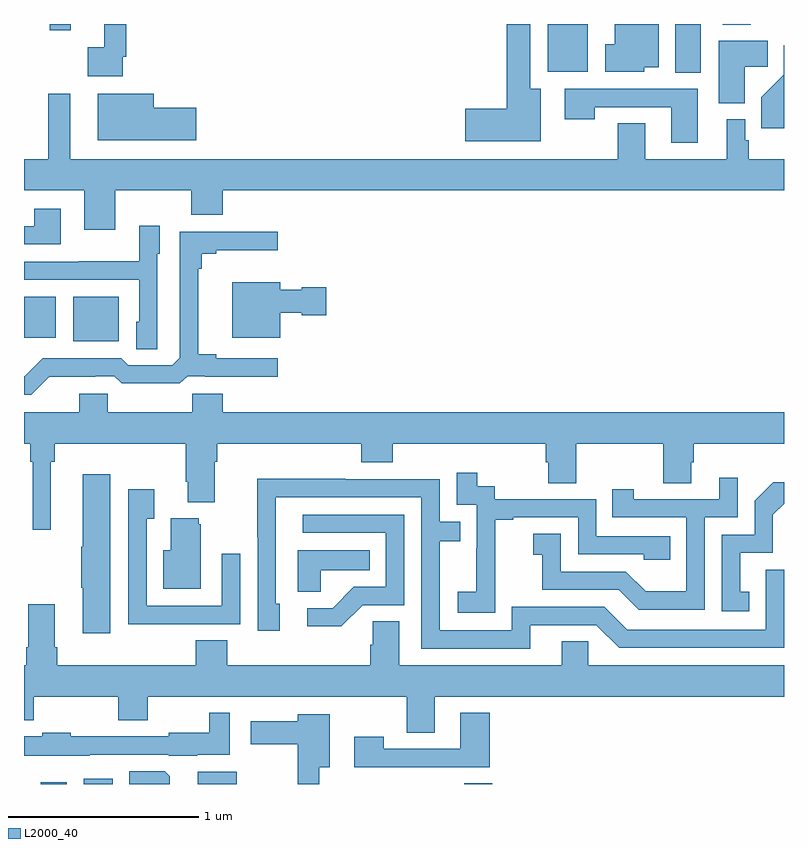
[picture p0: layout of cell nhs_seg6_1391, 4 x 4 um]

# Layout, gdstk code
import gdstk
lib = gdstk.Library(unit=1e-6, precision=1e-09)
def R(c, l, rs):  # rectangles x0, y0, x1, y1
    for r in rs: c.add(gdstk.rectangle(r[:2], r[2:], *l))
def P(c, l, *ps):  # polygons
    for p in ps: c.add(gdstk.Polygon(p, *l))
L2000_40 = (2000, 40)

nhs_seg6_1391 = lib.new_cell('nhs_seg6_1391')
R(nhs_seg6_1391, L2000_40, [(195.089,989.5,195.226,989.509), (195.314,989.5,195.466,989.527), (195.914,989.5,196.12,989.564), (197.318,989.5,197.465,989.504), (195.26,991.829,195.499,992.065), (195,991.85,195.166,992.065), (198.428,993.244,198.562,993.5), (197.756,993.248,197.968,993.5), (195.135,993.468,195.245,993.5), (198.677,993.497,198.825,993.5)])
P(nhs_seg6_1391, L2000_40, [(198.264,993.272),(198.34,993.272),(198.34,993.5),(198.11,993.5),(198.11,993.394),(198.059,993.394),(198.059,993.248),(198.264,993.248)],
  [(197.719,993.16),(197.665,993.16),(197.665,993.5),(197.54,993.5),(197.54,993.053),(197.322,993.053),(197.322,992.882),(197.719,992.882)],
  [(195.519,993.328),(195.539,993.328),(195.539,993.5),(195.422,993.5),(195.422,993.377),(195.336,993.377),(195.336,993.224),(195.519,993.224)],
  [(198.793,993.274),(198.914,993.274),(198.914,993.412),(198.656,993.412),(198.656,993.083),(198.793,993.083)],
  [(199,993.388),(198.999,993.388),(198.999,993.233),(198.88,993.114),(198.88,992.952),(199,992.952)],
  [(198.547,993.159),(197.847,993.159),(197.847,993),(198.003,993),(198.003,993.063),(198.407,993.063),(198.407,992.874),(198.547,992.874)],
  [(195.481,992.624),(195.881,992.624),(195.881,992.496),(196.045,992.496),(196.045,992.624),(199,992.624),(199,992.788),(198.815,992.788),(198.815,992.889),(198.795,992.889),(198.795,992.998),(198.698,992.998),(198.698,992.788),(198.271,992.788),(198.271,992.978),(198.124,992.978),(198.124,992.788),(195.244,992.788),(195.244,993.133),(195.127,993.133),(195.127,992.788),(195,992.788),(195,992.624),(195.317,992.624),(195.317,992.418),(195.481,992.418)],
  [(195.907,993.059),(195.682,993.059),(195.682,993.133),(195.389,993.133),(195.389,992.888),(195.907,992.888)],
  [(195.193,992.527),(195.053,992.527),(195.053,992.436),(195,992.436),(195,992.34),(195.193,992.34)],
  [(195.702,992.292),(195.715,992.292),(195.715,992.437),(195.606,992.437),(195.606,992.251),(195.289,992.251),(195.289,992.25),(195,992.25),(195,992.154),(195.606,992.154),(195.606,991.932),(195.59,991.932),(195.59,991.789),(195.702,991.789)],
  [(195.134,991.643),(195.374,991.643),(195.374,991.647),(195.474,991.647),(195.514,991.608),(195.821,991.608),(195.861,991.647),(195.955,991.647),(195.955,991.643),(196.336,991.643),(196.336,991.74),(196.012,991.74),(196.012,991.763),(195.917,991.763),(195.917,992.213),(195.935,992.213),(195.935,992.29),(196.012,992.29),(196.012,992.309),(196.336,992.309),(196.336,992.406),(195.819,992.406),(195.819,991.743),(195.78,991.704),(195.549,991.704),(195.513,991.74),(195.099,991.74),(195.005,991.646),(195,991.646),(195,991.548),(195.039,991.548)],
  [(196.348,991.979),(196.461,991.979),(196.461,991.967),(196.591,991.967),(196.591,992.114),(196.461,992.114),(196.461,992.101),(196.348,992.101),(196.348,992.14),(196.097,992.14),(196.097,991.85),(196.348,991.85)],
  [(195.142,991.196),(195.161,991.196),(195.161,991.292),(195.851,991.292),(195.851,991.09),(195.863,991.09),(195.863,990.983),(196.003,990.983),(196.003,991.196),(196.016,991.196),(196.016,991.292),(196.775,991.292),(196.775,991.193),(196.94,991.193),(196.94,991.292),(197.747,991.292),(197.747,991.194),(197.759,991.194),(197.759,991.084),(197.907,991.084),(197.907,991.292),(198.364,991.292),(198.364,991.084),(198.511,991.084),(198.511,991.194),(198.524,991.194),(198.524,991.292),(199,991.292),(199,991.456),(196.046,991.456),(196.046,991.554),(195.886,991.554),(195.886,991.456),(195.441,991.456),(195.441,991.554),(195.29,991.554),(195.29,991.456),(195,991.456),(195,991.292),(195.032,991.292),(195.032,991.196),(195.045,991.196),(195.045,990.837),(195.142,990.837)],
  [(197.481,990.607),(197.48,990.607),(197.48,990.891),(197.575,990.891),(197.575,990.903),(197.916,990.903),(197.916,990.708),(198.261,990.708),(198.261,990.681),(198.401,990.681),(198.401,990.804),(198.012,990.804),(198.012,990.999),(197.478,990.999),(197.478,991.068),(197.386,991.068),(197.386,991.138),(197.277,991.138),(197.277,990.969),(197.382,990.969),(197.382,990.74),(197.381,990.74),(197.381,990.511),(197.283,990.511),(197.283,990.401),(197.481,990.401)],
  [(195.454,991.129),(195.308,991.129),(195.308,990.749),(195.301,990.749),(195.301,990.532),(195.308,990.532),(195.308,990.294),(195.454,990.294)],
  [(198.582,990.903),(198.756,990.903),(198.756,991.111),(198.659,991.111),(198.659,990.999),(198.208,990.999),(198.208,991.051),(198.097,991.051),(198.097,990.903),(198.486,990.903),(198.486,990.514),(198.272,990.514),(198.168,990.618),(197.826,990.618),(197.826,990.817),(197.679,990.817),(197.679,990.707),(197.728,990.707),(197.728,990.522),(198.131,990.522),(198.236,990.417),(198.582,990.417)],
  [(197.665,990.336),(198.012,990.336),(198.132,990.216),(199,990.216),(199,990.627),(198.903,990.627),(198.903,990.312),(198.174,990.312),(198.054,990.432),(197.568,990.432),(197.568,990.309),(197.187,990.309),(197.187,990.778),(197.297,990.778),(197.297,990.879),(197.187,990.879),(197.187,991.104),(196.691,991.104),(196.691,991.106),(196.228,991.106),(196.228,990.799),(196.23,990.799),(196.23,990.306),(196.345,990.306),(196.345,990.45),(196.326,990.45),(196.326,991.008),(197.091,991.008),(197.091,990.213),(197.665,990.213)],
  [(198.818,990.513),(198.769,990.513),(198.769,990.717),(198.942,990.717),(198.942,990.918),(199,990.976),(199,991.088),(198.944,991.088),(198.846,990.99),(198.846,990.813),(198.672,990.813),(198.672,990.408),(198.818,990.408)],
  [(195.821,990.342),(196.137,990.342),(196.137,990.712),(196.041,990.712),(196.041,990.438),(195.645,990.438),(195.645,990.895),(195.685,990.895),(195.685,991.051),(195.549,991.051),(195.549,990.341),(195.821,990.341)],
  [(196.782,990.441),(197.001,990.441),(197.001,990.918),(196.467,990.918),(196.467,990.822),(196.905,990.822),(196.905,990.537),(196.736,990.537),(196.625,990.426),(196.491,990.426),(196.491,990.329),(196.669,990.329)],
  [(195.931,990.867),(195.92,990.867),(195.92,990.898),(195.773,990.898),(195.773,990.73),(195.734,990.73),(195.734,990.527),(195.931,990.527)],
  [(196.563,990.626),(196.82,990.626),(196.82,990.73),(196.442,990.73),(196.442,990.511),(196.563,990.511)],
  [(197.161,989.96),(199,989.96),(199,990.124),(197.97,990.124),(197.97,990.251),(197.831,990.251),(197.831,990.124),(196.975,990.124),(196.975,990.356),(196.836,990.356),(196.836,990.233),(196.823,990.233),(196.823,990.124),(196.07,990.124),(196.07,990.257),(195.905,990.257),(195.905,990.124),(195.176,990.124),(195.176,990.22),(195.163,990.22),(195.163,990.445),(195.023,990.445),(195.023,990.22),(195.011,990.22),(195.011,990.124),(195,990.124),(195,989.836),(195.051,989.836),(195.051,989.96),(195.496,989.96),(195.496,989.836),(195.651,989.836),(195.651,989.96),(197.014,989.96),(197.014,989.77),(197.161,989.77)],
  [(197.45,989.875),(197.297,989.875),(197.297,989.685),(196.893,989.685),(196.893,989.749),(196.737,989.749),(196.737,989.589),(197.45,989.589)],
  [(195.345,989.655),(195.762,989.655),(195.762,989.648),(195.912,989.648),(195.912,989.654),(196.083,989.654),(196.083,989.875),(195.975,989.875),(195.975,989.77),(195.762,989.77),(195.762,989.751),(195.246,989.751),(195.246,989.769),(195.096,989.769),(195.096,989.751),(195,989.751),(195,989.648),(195.345,989.648)],
  [(196.555,989.588),(196.609,989.588),(196.609,989.866),(196.442,989.866),(196.442,989.83),(196.194,989.83),(196.194,989.708),(196.442,989.708),(196.442,989.5),(196.555,989.5)],
  [(195.766,989.54),(195.74,989.566),(195.554,989.566),(195.554,989.5),(195.766,989.5)])

lib.write_gds('nhs_seg6_1391.gds')
